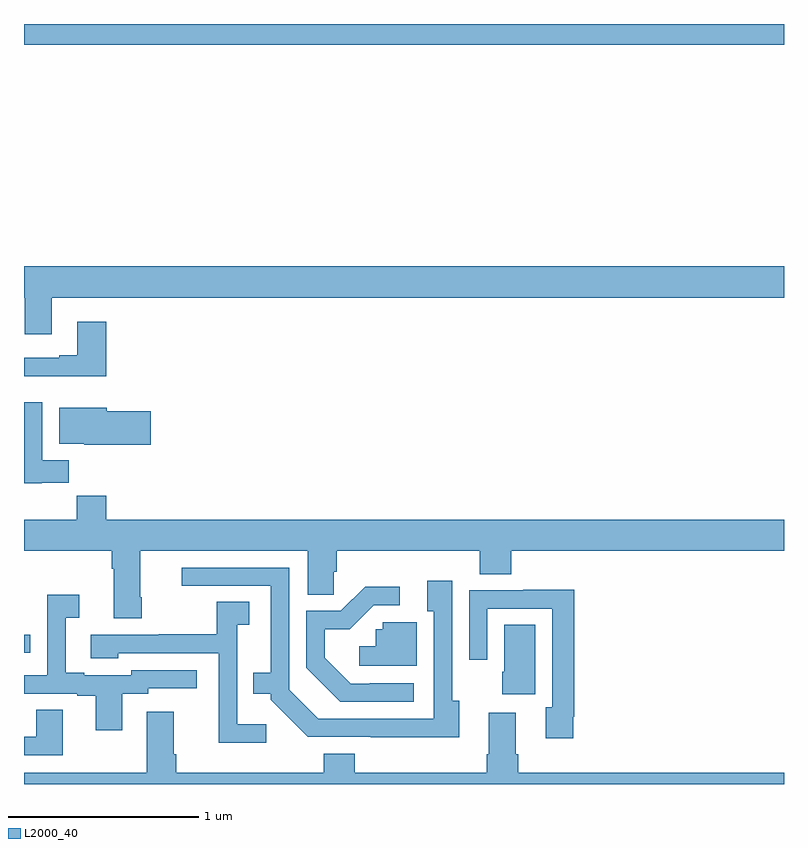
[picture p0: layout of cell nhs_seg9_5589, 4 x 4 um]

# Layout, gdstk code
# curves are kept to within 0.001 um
import gdstk
lib = gdstk.Library(unit=1e-6, precision=1e-09)
def R(c, l, rs):  # rectangles x0, y0, x1, y1
    for r in rs: c.add(gdstk.rectangle(r[:2], r[2:], *l))
def P(c, l, *ps):  # polygons
    for p in ps: c.add(gdstk.Polygon(p, *l))
L2000_40 = (2000, 40)

nhs_seg9_5589 = lib.new_cell('nhs_seg9_5589')
R(nhs_seg9_5589, L2000_40, [(435,1221.19,435.034,1221.285), (435,1224.392,439,1224.5)])
P(nhs_seg9_5589, L2000_40, [(435.145,1223.06),(439,1223.06),(439,1223.224),(435,1223.224),(435,1223.06),(435.005,1223.06),(435.005,1222.866),(435.145,1222.866)],
  [(435.434,1222.933),(435.281,1222.933),(435.281,1222.756),(435.185,1222.756),(435.185,1222.743),(435,1222.743),(435,1222.646),(435.434,1222.646)],
  [(435.093,1222.086),(435.236,1222.086),(435.236,1222.204),(435.097,1222.204),(435.097,1222.51),(435,1222.51),(435,1222.082),(435.093,1222.082)],
  [(435.667,1222.463),(435.436,1222.463),(435.436,1222.48),(435.185,1222.48),(435.185,1222.292),(435.318,1222.292),(435.318,1222.286),(435.667,1222.286)],
  [(435.621,1221.484),(435.613,1221.484),(435.613,1221.728),(436.493,1221.728),(436.493,1221.496),(436.631,1221.496),(436.631,1221.618),(436.646,1221.618),(436.646,1221.728),(437.399,1221.728),(437.399,1221.604),(437.564,1221.604),(437.564,1221.728),(439,1221.728),(439,1221.892),(435.434,1221.892),(435.434,1222.016),(435.277,1222.016),(435.277,1221.892),(435,1221.892),(435,1221.728),(435.461,1221.728),(435.461,1221.632),(435.473,1221.632),(435.473,1221.372),(435.621,1221.372)],
  [(437.29,1220.938),(437.253,1220.938),(437.253,1221.571),(437.123,1221.571),(437.123,1221.41),(437.157,1221.41),(437.157,1220.844),(436.548,1220.844),(436.395,1220.997),(436.395,1221.639),(435.831,1221.639),(435.831,1221.543),(436.298,1221.543),(436.298,1221.085),(436.207,1221.085),(436.207,1220.975),(436.299,1220.975),(436.299,1220.943),(436.494,1220.748),(437.29,1220.747)],
  [(437.05,1221.03),(436.819,1221.03),(436.819,1221.027),(436.719,1221.027),(436.582,1221.164),(436.582,1221.314),(436.715,1221.314),(436.842,1221.441),(436.978,1221.441),(436.978,1221.539),(436.796,1221.539),(436.668,1221.411),(436.485,1221.411),(436.485,1221.113),(436.664,1220.934),(437.05,1220.934)],
  [(437.89,1220.854),(437.897,1220.854),(437.897,1221.523),(437.627,1221.523),(437.627,1221.519),(437.343,1221.519),(437.343,1221.153),(437.439,1221.153),(437.439,1221.423),(437.781,1221.423),(437.781,1220.903),(437.747,1220.903),(437.747,1220.742),(437.89,1220.742)],
  [(435.517,1220.976),(435.654,1220.976),(435.654,1221.003),(435.91,1221.003),(435.91,1221.099),(435.564,1221.099),(435.564,1221.072),(435.316,1221.072),(435.316,1221.085),(435.22,1221.085),(435.22,1221.376),(435.292,1221.376),(435.292,1221.496),(435.123,1221.496),(435.123,1221.072),(435,1221.072),(435,1220.976),(435.281,1220.976),(435.281,1220.964),(435.377,1220.964),(435.377,1220.784),(435.517,1220.784)],
  [(436.276,1220.815),(436.122,1220.815),(436.122,1221.337),(436.186,1221.337),(436.186,1221.458),(436.014,1221.458),(436.014,1221.288),(435.709,1221.288),(435.709,1221.285),(435.351,1221.285),(435.351,1221.161),(435.495,1221.161),(435.495,1221.189),(436.026,1221.189),(436.026,1220.957),(436.024,1220.957),(436.024,1220.717),(436.276,1220.717)],
  [(437.068,1221.351),(436.887,1221.351),(436.887,1221.315),(436.851,1221.315),(436.851,1221.226),(436.764,1221.226),(436.764,1221.123),(437.068,1221.123)],
  [(437.692,1221.337),(437.528,1221.337),(437.528,1221.09),(437.516,1221.09),(437.516,1220.972),(437.692,1220.972)],
  [(435.205,1220.891),(435.065,1220.891),(435.065,1220.748),(435,1220.748),(435,1220.652),(435.205,1220.652)],
  [(439,1220.56),(437.6,1220.56),(437.6,1220.656),(437.587,1220.656),(437.587,1220.875),(437.447,1220.875),(437.447,1220.656),(437.435,1220.656),(437.435,1220.56),(436.742,1220.56),(436.742,1220.659),(436.577,1220.659),(436.577,1220.56),(435.8,1220.56),(435.8,1220.656),(435.787,1220.656),(435.787,1220.881),(435.647,1220.881),(435.647,1220.56),(435,1220.56),(435,1220.5),(439,1220.5)])

lib.write_gds('nhs_seg9_5589.gds')
